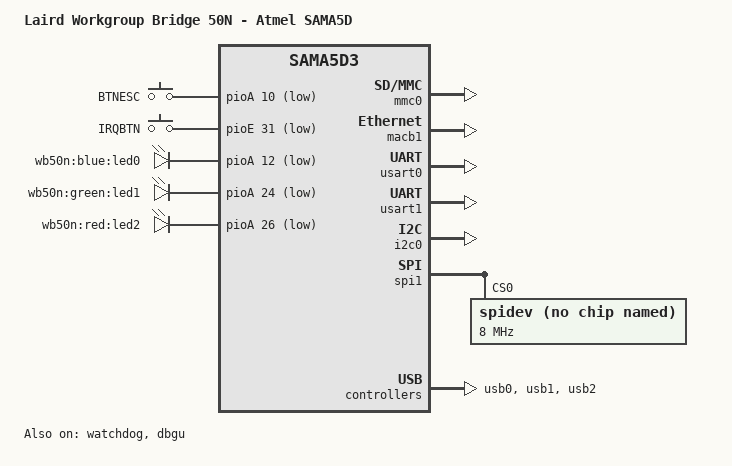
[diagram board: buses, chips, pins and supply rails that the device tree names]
// SPDX-License-Identifier: GPL-2.0
/*
 * at91-wb50n.dts - Device Tree file for wb50n evaluation board
 *
 *  Copyright (C) 2018 Laird
 *
 */

/dts-v1/;
#include "at91-wb50n.dtsi"

/ {
	model = "Laird Workgroup Bridge 50N - Atmel SAMA5D";
	compatible = "laird,wb50n", "atmel,sama5d31", "atmel,sama5d3", "atmel,sama5";

	gpio_keys {
		compatible = "gpio-keys";
		#address-cells = <1>;
		#size-cells = <0>;

		btn0@10 {
			reg = <10>;
			label = "BTNESC";
			linux,code = <1>; /* ESC button */
			gpios = <&pioA 10 GPIO_ACTIVE_LOW>;
			wakeup-source;
		};

		irqbtn@31 {
			reg = <31>;
			label = "IRQBTN";
			linux,code = <99>; /* SysReq button */
			gpios = <&pioE 31 GPIO_ACTIVE_LOW>;
			wakeup-source;
		};
	};

	leds {
		compatible = "gpio-leds";

		led0 {
			label = "wb50n:blue:led0";
			gpios = <&pioA 12 GPIO_ACTIVE_LOW>;
			default-state = "off";
		};

		led1 {
			label = "wb50n:green:led1";
			gpios = <&pioA 24 GPIO_ACTIVE_LOW>;
			default-state = "off";
		};

		led2 {
			label = "wb50n:red:led2";
			gpios = <&pioA 26 GPIO_ACTIVE_LOW>;
			default-state = "off";
		};
	};
};

&watchdog {
	status = "okay";
};

&mmc0 {
	status = "okay";
};

&macb1 {
	status = "okay";
};

&dbgu {
	status = "okay";
};

/* On BB40 this port is labeled UART1 */
&usart0 {
	status = "okay";
};

/* On BB40 this port is labeled UART0 */
&usart1 {
	status = "okay";
};

&i2c0 {
	status = "okay";
};

&spi1 {
	status = "okay";

	spidev@0 {
		compatible = "spidev";
		reg = <0>;
		spi-max-frequency = <8000000>;
	};
};

&usb0 {
	status = "okay";
};

&usb1 {
	status = "okay";
};

&usb2 {
	status = "okay";
};

